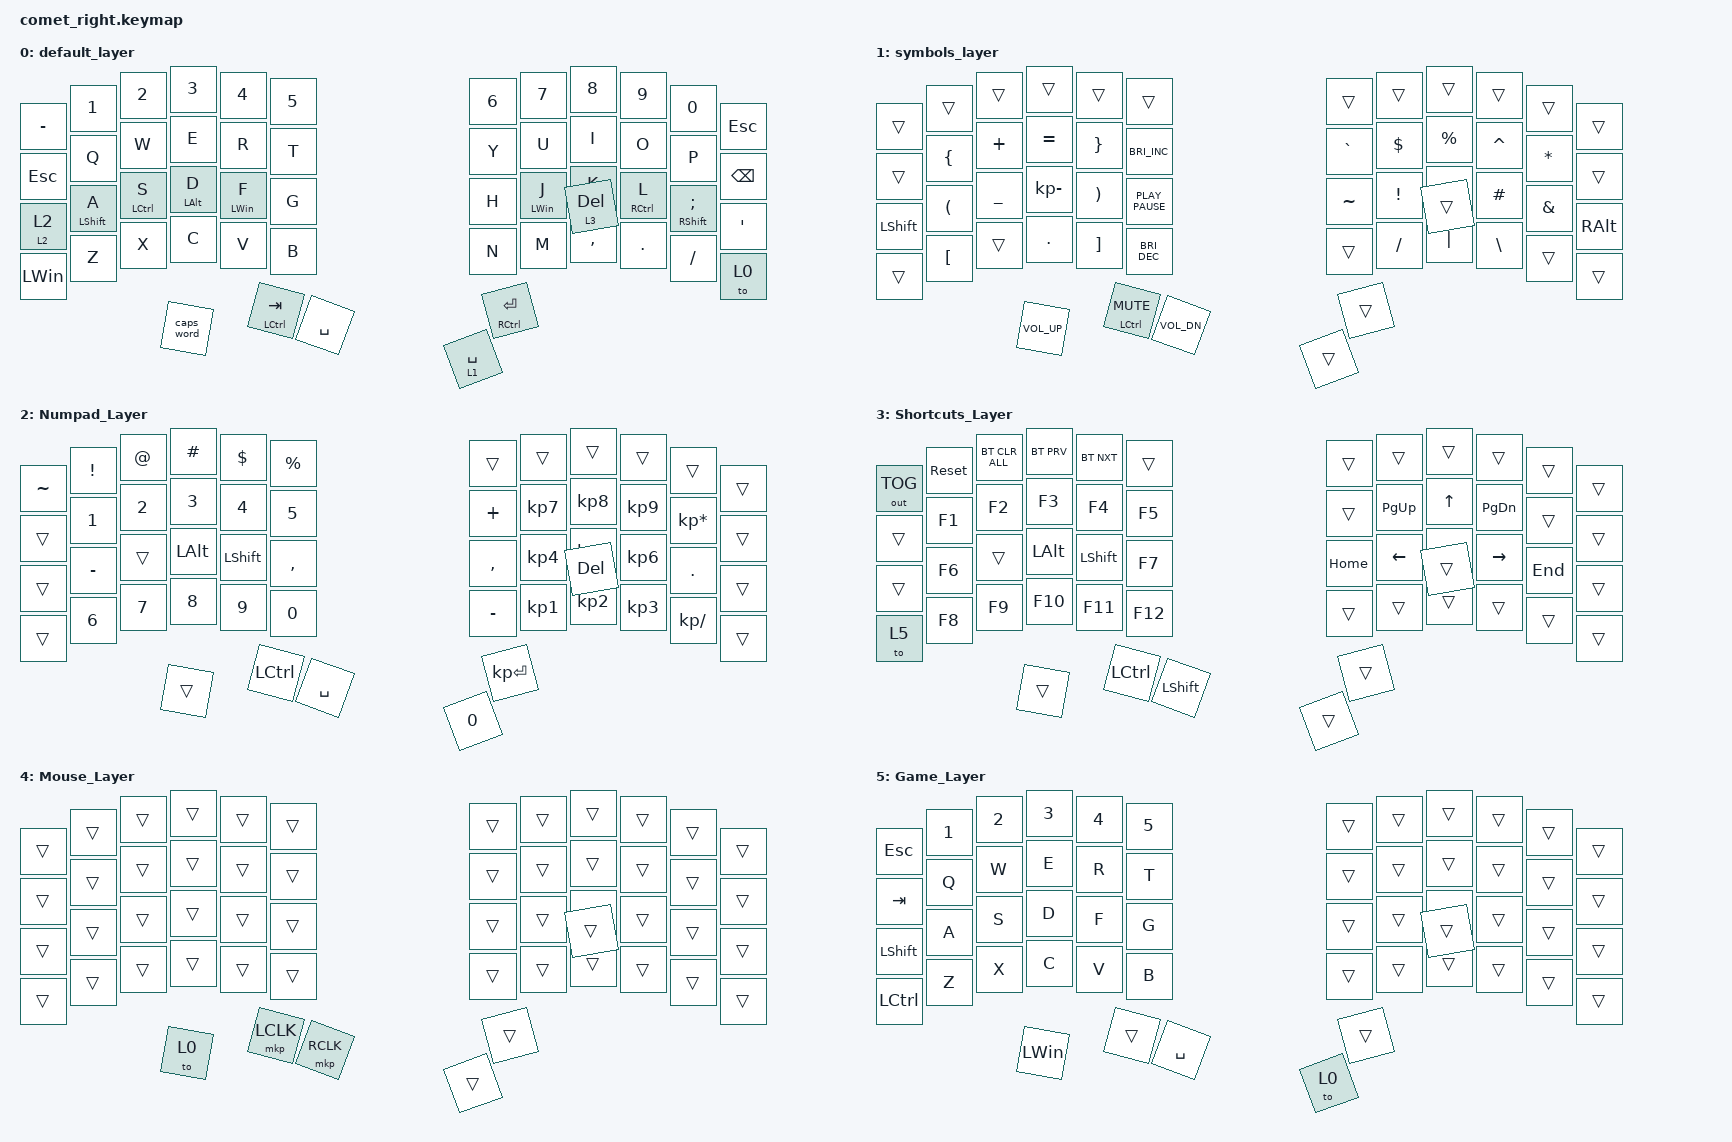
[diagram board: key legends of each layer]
#include <dt-bindings/zmk/mouse.h>
#include <behaviors/mouse_keys.dtsi>
#include <behaviors/mouse_move.dtsi>
#include <input/processors.dtsi>
#include <behaviors.dtsi>
#include <dt-bindings/zmk/bt.h>
#include <dt-bindings/zmk/keys.h>
#include <dt-bindings/zmk/outputs.h>
#include <dt-bindings/zmk/pointing.h>

&mt {
    flavor = "tap-preferred";
    tapping-term-ms = <200>;
};

/ {
    behaviors {
        Layer_tap: Layer_tap {
            compatible = "zmk,behavior-hold-tap";
            label = "LAYER_TAP";
            bindings = <&mo>, <&kp>;

            #binding-cells = <2>;
            tapping-term-ms = <500>;
            flavor = "tap-preferred";
        };

        TH_Label: TH_Label {
            compatible = "zmk,behavior-hold-tap";
            label = "TH_LABEL";
            bindings = <&mo>, <&tog>;

            #binding-cells = <2>;
            tapping-term-ms = <500>;
        };
    };

    combos {
        compatible = "zmk,combos";

        To_Mouse_Layer {
            bindings = <&to 4>;
            key-positions = <48 49>;
        };

        /*
         * Output toggle combo: press the 3 left outer-column keys simultaneously
         * (MINUS + ESC + home-row outer) to swap between USB and Bluetooth.
         * Assign this to a key anytime by using &out OUT_TOG in any layer.
         */
        Swap_Output {
            bindings = <&out OUT_TOG>;
            key-positions = <0 12 24>;
            timeout-ms = <50>;
        };
    };

    keymap {
        compatible = "zmk,keymap";

        default_layer {
            bindings = <
&kp MINUS      &kp NUMBER_1      &kp NUMBER_2        &kp NUMBER_3    &kp NUMBER_4          &kp NUMBER_5    &kp NUMBER_6        &kp NUMBER_7             &kp NUMBER_8         &kp NUMBER_9         &kp NUMBER_0               &kp ESCAPE
&kp ESCAPE     &kp Q             &kp W               &kp E           &kp R                 &kp T           &kp Y               &kp U                    &kp I                &kp O                &kp P                      &kp BACKSPACE
&TH_Label 2 2  &mt LEFT_SHIFT A  &mt LEFT_CONTROL S  &mt LEFT_ALT D  &mt LEFT_WIN F        &kp G           &kp H               &mt LEFT_WIN J           &mt RIGHT_ALT K      &mt RIGHT_CONTROL L  &mt RIGHT_SHIFT SEMICOLON  &kp SQT
&kp LEFT_WIN   &kp Z             &kp X               &kp C           &kp V                 &kp B           &kp N               &kp M                    &kp COMMA            &kp PERIOD           &kp SLASH                  &to 0
                                                     &caps_word      &mt LEFT_CONTROL TAB  &kp SPACE       &Layer_tap 1 SPACE  &mt RIGHT_CONTROL ENTER  &Layer_tap 3 DELETE
            >;
        };

        symbols_layer {
            bindings = <
&trans          &trans                &trans     &trans           &trans                   &trans                  &trans     &trans      &trans       &trans         &trans         &trans
&trans          &kp LEFT_BRACE        &kp PLUS   &kp EQUAL        &kp RIGHT_BRACE          &kp C_BRIGHTNESS_INC    &kp GRAVE  &kp DOLLAR  &kp PERCENT  &kp CARET      &kp ASTRK      &trans
&kp LEFT_SHIFT  &kp LEFT_PARENTHESIS  &kp UNDER  &kp KP_SUBTRACT  &kp RIGHT_PARENTHESIS    &kp K_PLAY_PAUSE        &kp TILDE  &kp EXCL    &kp AT       &kp HASH       &kp AMPERSAND  &kp RIGHT_ALT
&trans          &kp LEFT_BRACKET      &trans     &kp PERIOD       &kp RIGHT_BRACKET        &kp C_BRIGHTNESS_DEC    &trans     &kp SLASH   &kp PIPE     &kp BACKSLASH  &trans         &trans
                                                 &kp C_VOLUME_UP  &mt LEFT_CONTROL K_MUTE  &kp C_VOL_DN            &trans     &trans      &trans
            >;
        };

        Numpad_Layer {
            bindings = <
&kp TILDE  &kp EXCL      &kp AT  &kp HASH      &kp DLLR          &kp PRCNT    &trans     &trans           &trans           &trans           &trans           &trans
&trans     &kp N1        &kp N2  &kp N3        &kp N4            &kp N5       &kp PLUS   &kp KP_NUMBER_7  &kp KP_NUMBER_8  &kp KP_NUMBER_9  &kp KP_MULTIPLY  &trans
&trans     &kp MINUS     &trans  &kp LEFT_ALT  &kp LEFT_SHIFT    &kp COMMA    &kp COMMA  &kp KP_NUMBER_4  &kp KP_NUMBER_5  &kp KP_NUMBER_6  &kp PERIOD       &trans
&trans     &kp NUMBER_6  &kp N7  &kp N8        &kp N9            &kp N0       &kp MINUS  &kp KP_NUMBER_1  &kp KP_NUMBER_2  &kp KP_NUMBER_3  &kp KP_DIVIDE    &trans
                                 &trans        &kp LEFT_CONTROL  &kp SPACE    &kp N0     &kp KP_ENTER     &kp DELETE
            >;
        };

        Shortcuts_Layer {
            bindings = <
&out OUT_TOG  &sys_reset  &bt BT_CLR_ALL  &bt BT_PRV  &bt BT_NXT  &trans       &trans    &trans     &trans    &trans     &trans   &trans
&trans        &kp F1      &kp F2          &kp F3      &kp F4      &kp F5       &trans    &kp PG_UP  &kp UP    &kp PG_DN  &trans   &trans
&trans        &kp F6      &trans          &kp LALT    &kp LSHFT   &kp F7       &kp HOME  &kp LEFT   &kp DOWN  &kp RIGHT  &kp END  &trans
&to 5         &kp F8      &kp F9          &kp F10     &kp F11     &kp F12      &trans    &trans     &trans    &trans     &trans   &trans
                                          &trans      &kp LCTRL   &kp LSHFT    &trans    &trans     &trans
            >;
        };

        Mouse_Layer {
            bindings = <
&trans  &trans  &trans  &trans  &trans     &trans       &trans  &trans  &trans  &trans  &trans  &trans
&trans  &trans  &trans  &trans  &trans     &trans       &trans  &trans  &trans  &trans  &trans  &trans
&trans  &trans  &trans  &trans  &trans     &trans       &trans  &trans  &trans  &trans  &trans  &trans
&trans  &trans  &trans  &trans  &trans     &trans       &trans  &trans  &trans  &trans  &trans  &trans
                        &to 0   &mkp LCLK  &mkp RCLK    &trans  &trans  &trans
            >;
        };

        Game_Layer {
            bindings = <
&kp ESCAPE  &kp N1  &kp N2  &kp N3        &kp N4  &kp N5       &trans  &trans  &trans  &trans  &trans  &trans
&kp TAB     &kp Q   &kp W   &kp E         &kp R   &kp T        &trans  &trans  &trans  &trans  &trans  &trans
&kp LSHFT   &kp A   &kp S   &kp D         &kp F   &kp G        &trans  &trans  &trans  &trans  &trans  &trans
&kp LCTRL   &kp Z   &kp X   &kp C         &kp V   &kp B        &trans  &trans  &trans  &trans  &trans  &trans
                            &kp LEFT_WIN  &trans  &kp SPACE    &to 0   &trans  &trans
            >;
        };
    };
};
